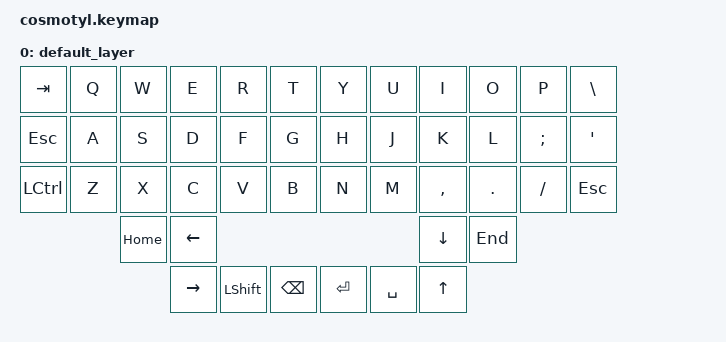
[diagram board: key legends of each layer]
#include <behaviors.dtsi>
#include <dt-bindings/zmk/keys.h>
#include <dt-bindings/zmk/bt.h>

/ {
        keymap {
                compatible = "zmk,keymap";

                default_layer {
                        bindings = <
                                &kp TAB      &kp Q   &kp W      &kp E      &kp R     &kp T           &kp Y   &kp U      &kp I     &kp O   &kp P    &kp BSLH
                                &kp ESC      &kp A   &kp S      &kp D      &kp F     &kp G           &kp H   &kp J      &kp K     &kp L   &kp SEMI &kp SQT
                                &kp LCTRL    &kp Z   &kp X      &kp C      &kp V     &kp B           &kp N   &kp M      &kp COMMA &kp DOT &kp FSLH &kp ESC
                                                     &kp HOME   &kp LEFT                                                &kp DOWN   &kp END
                                                                &kp RIGHT  &kp LSHFT &kp BSPC        &kp RET &kp SPACE  &kp UP
                        >;
                };
        };
};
